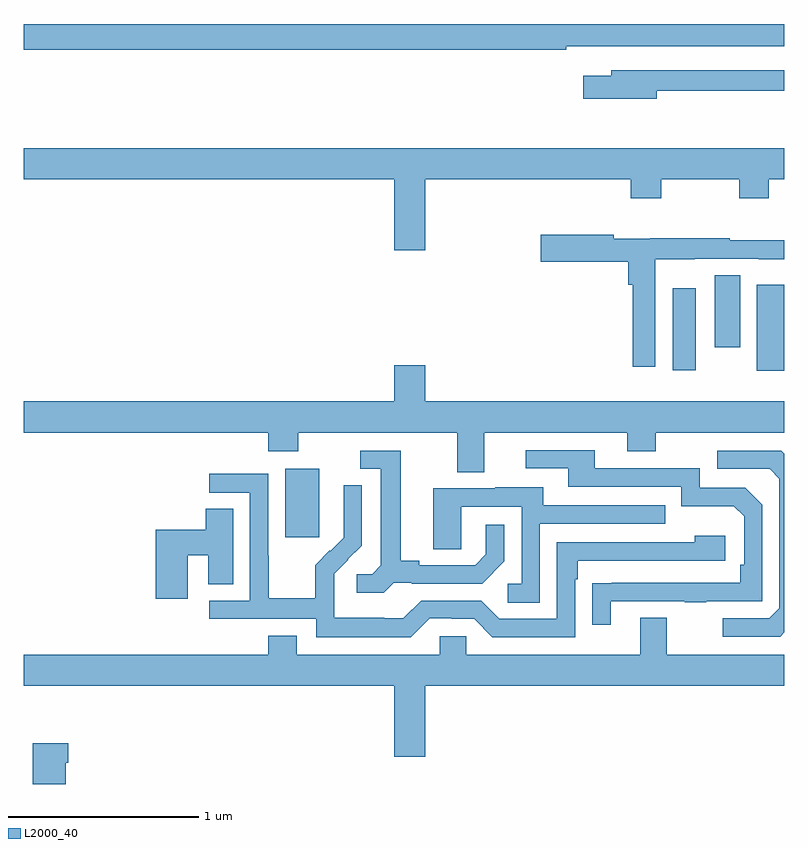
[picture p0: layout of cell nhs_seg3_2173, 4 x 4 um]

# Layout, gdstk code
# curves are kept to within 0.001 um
import gdstk
lib = gdstk.Library(unit=1e-6, precision=1e-09)
def R(c, l, rs):  # rectangles x0, y0, x1, y1
    for r in rs: c.add(gdstk.rectangle(r[:2], r[2:], *l))
def P(c, l, *ps):  # polygons
    for p in ps: c.add(gdstk.Polygon(p, *l))
L2000_40 = (2000, 40)

nhs_seg3_2173 = lib.new_cell('nhs_seg3_2173')
R(nhs_seg3_2173, L2000_40, [(224.375,701.697,224.554,702.058), (226.856,702.573,227,703.024), (226.412,702.576,226.534,703.006), (226.634,702.696,226.768,703.076)])
P(nhs_seg3_2173, L2000_40, [(225.854,704.28),(227,704.28),(227,704.396),(223,704.396),(223,704.26),(225.854,704.26)],
  [(226.33,704.046),(227,704.046),(227,704.154),(226.091,704.154),(226.091,704.125),(225.942,704.125),(225.942,704.003),(226.33,704.003)],
  [(225.112,703.58),(226.193,703.58),(226.193,703.481),(226.353,703.481),(226.353,703.58),(226.762,703.58),(226.762,703.481),(226.917,703.481),(226.917,703.58),(227,703.58),(227,703.744),(223,703.744),(223,703.58),(224.948,703.58),(224.948,703.206),(225.112,703.206)],
  [(226.32,703.16),(226.53,703.16),(226.53,703.161),(226.864,703.161),(226.864,703.16),(227,703.16),(227,703.26),(226.712,703.26),(226.712,703.27),(226.296,703.27),(226.296,703.267),(226.104,703.267),(226.104,703.287),(225.72,703.287),(225.72,703.145),(226.178,703.145),(226.178,703.025),(226.204,703.025),(226.204,702.594),(226.32,702.594)],
  [(225.421,702.248),(226.175,702.248),(226.175,702.149),(226.323,702.149),(226.323,702.248),(227,702.248),(227,702.412),(225.112,702.412),(225.112,702.601),(224.948,702.601),(224.948,702.412),(223,702.412),(223,702.248),(224.285,702.248),(224.285,702.149),(224.445,702.149),(224.445,702.248),(225.281,702.248),(225.281,702.04),(225.421,702.04)],
  [(226.087,701.361),(226.477,701.361),(226.477,701.356),(226.589,701.356),(226.589,701.361),(226.884,701.361),(226.884,701.868),(226.794,701.958),(226.554,701.958),(226.554,702.06),(226.003,702.06),(226.003,702.156),(225.639,702.156),(225.639,702.06),(225.863,702.06),(225.863,701.964),(226.458,701.964),(226.458,701.861),(226.735,701.861),(226.788,701.808),(226.788,701.554),(226.768,701.554),(226.768,701.457),(225.991,701.456),(225.991,701.238),(226.087,701.238)],
  [(227,701.198),(227,702.136),(226.983,702.153),(226.647,702.153),(226.647,702.057),(226.923,702.057),(226.974,702.006),(226.974,701.325),(226.92,701.271),(226.677,701.271),(226.677,701.175),(226.977,701.175)],
  [(224.946,701.457),(225.04,701.457),(225.04,701.454),(225.412,701.454),(225.528,701.57),(225.528,701.764),(225.431,701.764),(225.431,701.607),(225.374,701.55),(225.079,701.55),(225.079,701.573),(224.983,701.573),(224.983,702.153),(224.769,702.153),(224.769,702.057),(224.879,702.057),(224.879,701.549),(224.832,701.502),(224.751,701.502),(224.751,701.405),(224.894,701.405)],
  [(225.135,701.271),(225.251,701.271),(225.251,701.268),(225.369,701.268),(225.465,701.172),(225.9,701.172),(225.9,701.477),(225.913,701.477),(225.913,701.574),(226.69,701.574),(226.69,701.704),(226.529,701.704),(226.529,701.67),(225.804,701.67),(225.804,701.268),(225.501,701.268),(225.405,701.364),(225.09,701.364),(224.997,701.271),(224.897,701.271),(224.897,701.275),(224.634,701.275),(224.634,701.409),(224.632,701.409),(224.632,701.506),(224.778,701.654),(224.778,701.972),(224.682,701.972),(224.682,701.818),(224.684,701.818),(224.684,701.696),(224.613,701.625),(224.61,701.628),(224.533,701.551),(224.533,701.377),(224.289,701.377),(224.289,701.6),(224.286,701.6),(224.286,702.03),(223.977,702.03),(223.977,701.931),(224.19,701.931),(224.19,701.364),(223.977,701.364),(223.977,701.268),(224.538,701.268),(224.538,701.171),(225.035,701.171)],
  [(225.714,701.769),(226.373,701.769),(226.373,701.865),(225.733,701.865),(225.733,701.959),(225.479,701.959),(225.479,701.955),(225.155,701.955),(225.155,701.635),(225.3,701.635),(225.3,701.859),(225.618,701.859),(225.618,701.454),(225.546,701.454),(225.546,701.353),(225.714,701.353)],
  [(223.864,701.603),(223.97,701.603),(223.97,701.449),(224.101,701.449),(224.101,701.846),(223.958,701.846),(223.958,701.738),(223.694,701.738),(223.694,701.373),(223.864,701.373)],
  [(227,701.08),(226.381,701.08),(226.381,701.275),(226.241,701.275),(226.241,701.08),(225.327,701.08),(225.327,701.178),(225.189,701.178),(225.189,701.08),(224.437,701.08),(224.437,701.179),(224.285,701.179),(224.285,701.08),(223,701.08),(223,700.916),(224.948,700.916),(224.948,700.542),(225.112,700.542),(225.112,700.916),(227,700.916)],
  [(223.222,700.511),(223.235,700.511),(223.235,700.615),(223.049,700.615),(223.049,700.4),(223.222,700.4)])

lib.write_gds('nhs_seg3_2173.gds')
